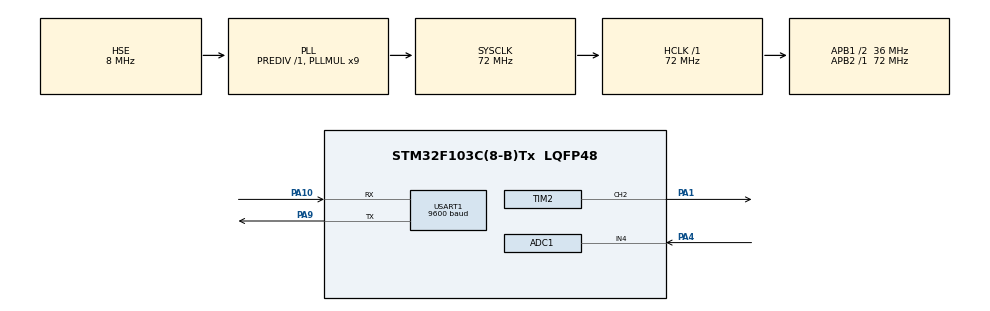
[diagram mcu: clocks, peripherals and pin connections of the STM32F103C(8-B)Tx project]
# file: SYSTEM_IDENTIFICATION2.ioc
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ADC1.Channel-0\#ChannelRegularConversion=ADC_CHANNEL_4
ADC1.ContinuousConvMode=ENABLE
ADC1.InjNumberOfConversion=0
ADC1.NbrOfConversion=1
ADC1.NbrOfConversionFlag=1
ADC1.Rank-0\#ChannelRegularConversion=1
ADC1.SamplingTime-0\#ChannelRegularConversion=ADC_SAMPLETIME_1CYCLE_5
ADC1.master=1
FREERTOS.HEAP_NUMBER=3
FREERTOS.Tasks01=CurrentRead,3,128,StartTaskCurrentRead,Default,NULL,Dynamic,NULL,NULL;DataLogging,3,128,StartTaskDataLogging,Default,NULL,Dynamic,NULL,NULL;SetPWM,3,128,StartTaskSetPWM,Default,NULL,Dynamic,NULL,NULL
Mcu.Family=STM32F1
Mcu.Name=STM32F103C(8-B)Tx
Mcu.Package=LQFP48
NVIC.ADC1_2_IRQn=true\:5\:0\:false\:false\:true\:true\:true
NVIC.PriorityGroup=NVIC_PRIORITYGROUP_4
NVIC.TIM1_UP_IRQn=true\:0\:0\:false\:false\:true\:false\:false
NVIC.TimeBase=TIM1_UP_IRQn
NVIC.TimeBaseIP=TIM1
PA1.Signal=S_TIM2_CH2
PA10.Mode=Asynchronous
PA10.Signal=USART1_RX
PA13.Mode=Serial_Wire
PA13.Signal=SYS_JTMS-SWDIO
PA14.Mode=Serial_Wire
PA14.Signal=SYS_JTCK-SWCLK
PA4.Signal=ADCx_IN4
PA9.Mode=Asynchronous
PA9.Signal=USART1_TX
PD0-OSC_IN.Mode=HSE-External-Oscillator
PD0-OSC_IN.Signal=RCC_OSC_IN
PD1-OSC_OUT.Mode=HSE-External-Oscillator
PD1-OSC_OUT.Signal=RCC_OSC_OUT
ProjectManager.HeapSize=0x200
ProjectManager.StackSize=0x400
ProjectManager.TargetToolchain=SW4STM32
RCC.ADCPresc=RCC_ADCPCLK2_DIV6
RCC.AHBFreq_Value=72000000
RCC.APB1CLKDivider=RCC_HCLK_DIV2
RCC.APB1Freq_Value=36000000
RCC.APB1TimFreq_Value=72000000
RCC.APB2Freq_Value=72000000
RCC.APB2TimFreq_Value=72000000
RCC.HCLKFreq_Value=72000000
RCC.PLLMUL=RCC_PLL_MUL9
RCC.PLLSourceVirtual=RCC_PLLSOURCE_HSE
RCC.SYSCLKFreq_VALUE=72000000
RCC.SYSCLKSource=RCC_SYSCLKSOURCE_PLLCLK
RCC.USBFreq_Value=48000000
RCC.USBPrescaler=RCC_USBCLKSOURCE_PLL_DIV1_5
SH.ADCx_IN4.0=ADC1_IN4,IN4
SH.S_TIM2_CH2.0=TIM2_CH2,PWM Generation2 CH2
TIM2.Channel-PWM\ Generation2\ CH2=TIM_CHANNEL_2
TIM2.Period=99
TIM2.Prescaler=9
USART1.BaudRate=9600
USART1.VirtualMode=VM_ASYNC
VP_FREERTOS_VS_ENABLE.Mode=Enabled
VP_SYS_VS_tim1.Mode=TIM1
VP_TIM2_VS_ClockSourceINT.Mode=Internal
board=custom

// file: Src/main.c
/* USER CODE BEGIN Header */
/**
  ******************************************************************************
  * @file           : main.c
  * @brief          : Main program body
  ******************************************************************************
  * This notice applies to any and all portions of this file
  * that are not between comment pairs USER CODE BEGIN and
  * USER CODE END. Other portions of this file, whether
  * inserted by the user or by software development tools
  * are owned by their respective copyright owners.
  *
  * Copyright (c) 2019 STMicroelectronics International N.V.
  * All rights reserved.
  *
  * Redistribution and use in source and binary forms, with or without
  * modification, are permitted, provided that the following conditions are met:
  *
  * 1. Redistribution of source code must retain the above copyright notice,
  *    this list of conditions and the following disclaimer.
  * 2. Redistributions in binary form must reproduce the above copyright notice,
  *    this list of conditions and the following disclaimer in the documentation
  *    and/or other materials provided with the distribution.
  * 3. Neither the name of STMicroelectronics nor the names of other
  *    contributors to this software may be used to endorse or promote products
  *    derived from this software without specific written permission.
  * 4. This software, including modifications and/or derivative works of this
  *    software, must execute solely and exclusively on microcontroller or
  *    microprocessor devices manufactured by or for STMicroelectronics.
  * 5. Redistribution and use of this software other than as permitted under
  *    this license is void and will automatically terminate your rights under
  *    this license.
  *
  * THIS SOFTWARE IS PROVIDED BY STMICROELECTRONICS AND CONTRIBUTORS "AS IS"
  * AND ANY EXPRESS, IMPLIED OR STATUTORY WARRANTIES, INCLUDING, BUT NOT
  * LIMITED TO, THE IMPLIED WARRANTIES OF MERCHANTABILITY, FITNESS FOR A
  * PARTICULAR PURPOSE AND NON-INFRINGEMENT OF THIRD PARTY INTELLECTUAL PROPERTY
  * RIGHTS ARE DISCLAIMED TO THE FULLEST EXTENT PERMITTED BY LAW. IN NO EVENT
  * SHALL STMICROELECTRONICS OR CONTRIBUTORS BE LIABLE FOR ANY DIRECT, INDIRECT,
  * INCIDENTAL, SPECIAL, EXEMPLARY, OR CONSEQUENTIAL DAMAGES (INCLUDING, BUT NOT
  * LIMITED TO, PROCUREMENT OF SUBSTITUTE GOODS OR SERVICES; LOSS OF USE, DATA,
  * OR PROFITS; OR BUSINESS INTERRUPTION) HOWEVER CAUSED AND ON ANY THEORY OF
  * LIABILITY, WHETHER IN CONTRACT, STRICT LIABILITY, OR TORT (INCLUDING
  * NEGLIGENCE OR OTHERWISE) ARISING IN ANY WAY OUT OF THE USE OF THIS SOFTWARE,
  * EVEN IF ADVISED OF THE POSSIBILITY OF SUCH DAMAGE.
  *
  ******************************************************************************
  */
/* USER CODE END Header */

#include "main.h"
#include "cmsis_os.h"
#include "legio.h"

/* USER CODE BEGIN PD */

#define DATA_LOGGING_SAMPLE_TIME 200
#define CURRENT_READ_SAMPLE_TIME 200
#define SET_PWM_SAMPLE_TIME 5000

/* USER CODE END PD */

ADC_HandleTypeDef hadc1;

TIM_HandleTypeDef htim2;

UART_HandleTypeDef huart1;

osThreadId CurrentReadHandle;
osThreadId DataLoggingHandle;
osThreadId SetPWMHandle;
osMutexId MutexHandle;
/* USER CODE BEGIN PV */

float v_avg;
int dutycycle;
int adc_value; //read value in adc channel
float pwm_frequency;

/* USER CODE END PV */

void SystemClock_Config(void);
static void MX_GPIO_Init(void);
static void MX_USART1_UART_Init(void);
static void MX_TIM2_Init(void);
static void MX_ADC1_Init(void);
void StartTaskCurrentRead(void const * argument);
void StartTaskDataLogging(void const * argument);
void StartTaskSetPWM(void const * argument);

int main(void)
{

  /* MCU Configuration--------------------------------------------------------*/

  /* Reset of all peripherals, Initializes the Flash interface and the Systick. */
  HAL_Init();

  /* Configure the system clock */
  SystemClock_Config();

  /* Initialize all configured peripherals */
  MX_GPIO_Init();
  MX_USART1_UART_Init();
  MX_TIM2_Init();
  MX_ADC1_Init();
  /* USER CODE BEGIN 2 */

  //write_pwm_freq_to_sd(); //change accordingly

  /* USER CODE END 2 */

  /* Create the thread(s) */
  /* definition and creation of CurrentRead */
  osThreadDef(CurrentRead, StartTaskCurrentRead, osPriorityRealtime, 0, 128);
  CurrentReadHandle = osThreadCreate(osThread(CurrentRead), NULL);

  /* definition and creation of DataLogging */
  osThreadDef(DataLogging, StartTaskDataLogging, osPriorityRealtime, 0, 128);
  DataLoggingHandle = osThreadCreate(osThread(DataLogging), NULL);

  /* definition and creation of SetPWM */
  osThreadDef(SetPWM, StartTaskSetPWM, osPriorityRealtime, 0, 128);
  SetPWMHandle = osThreadCreate(osThread(SetPWM), NULL);

  /* Start scheduler */
  osKernelStart();

  /* We should never get here as control is now taken by the scheduler */

  /* Infinite loop */
  /* USER CODE BEGIN WHILE */
  while (1)
  {
  }
}

void SystemClock_Config(void)
{
  RCC_OscInitTypeDef RCC_OscInitStruct = {0};
  RCC_ClkInitTypeDef RCC_ClkInitStruct = {0};
  RCC_PeriphCLKInitTypeDef PeriphClkInit = {0};

  /**Initializes the CPU, AHB and APB busses clocks
  */
  RCC_OscInitStruct.OscillatorType = RCC_OSCILLATORTYPE_HSE;
  RCC_OscInitStruct.HSEState = RCC_HSE_ON;
  RCC_OscInitStruct.HSEPredivValue = RCC_HSE_PREDIV_DIV1;
  RCC_OscInitStruct.HSIState = RCC_HSI_ON;
  RCC_OscInitStruct.PLL.PLLState = RCC_PLL_ON;
  RCC_OscInitStruct.PLL.PLLSource = RCC_PLLSOURCE_HSE;
  RCC_OscInitStruct.PLL.PLLMUL = RCC_PLL_MUL9;
  if (HAL_RCC_OscConfig(&RCC_OscInitStruct) != HAL_OK)
  {
    Error_Handler();
  }
  /**Initializes the CPU, AHB and APB busses clocks
  */
  RCC_ClkInitStruct.ClockType = RCC_CLOCKTYPE_HCLK|RCC_CLOCKTYPE_SYSCLK
                              |RCC_CLOCKTYPE_PCLK1|RCC_CLOCKTYPE_PCLK2;
  RCC_ClkInitStruct.SYSCLKSource = RCC_SYSCLKSOURCE_PLLCLK;
  RCC_ClkInitStruct.AHBCLKDivider = RCC_SYSCLK_DIV1;
  RCC_ClkInitStruct.APB1CLKDivider = RCC_HCLK_DIV2;
  RCC_ClkInitStruct.APB2CLKDivider = RCC_HCLK_DIV1;

  if (HAL_RCC_ClockConfig(&RCC_ClkInitStruct, FLASH_LATENCY_2) != HAL_OK)
  {
    Error_Handler();
  }
  PeriphClkInit.PeriphClockSelection = RCC_PERIPHCLK_ADC;
  PeriphClkInit.AdcClockSelection = RCC_ADCPCLK2_DIV6;
  if (HAL_RCCEx_PeriphCLKConfig(&PeriphClkInit) != HAL_OK)
  {
    Error_Handler();
  }
}

static void MX_ADC1_Init(void)
{

  ADC_ChannelConfTypeDef sConfig = {0};

  /**Common config
  */
  hadc1.Instance = ADC1;
  hadc1.Init.ScanConvMode = ADC_SCAN_DISABLE;
  hadc1.Init.ContinuousConvMode = ENABLE;
  hadc1.Init.DiscontinuousConvMode = DISABLE;
  hadc1.Init.ExternalTrigConv = ADC_SOFTWARE_START;
  hadc1.Init.DataAlign = ADC_DATAALIGN_RIGHT;
  hadc1.Init.NbrOfConversion = 1;
  if (HAL_ADC_Init(&hadc1) != HAL_OK)
  {
    Error_Handler();
  }
  /**Configure Regular Channel
  */
  sConfig.Channel = ADC_CHANNEL_4;
  sConfig.Rank = ADC_REGULAR_RANK_1;
  sConfig.SamplingTime = ADC_SAMPLETIME_1CYCLE_5;
  if (HAL_ADC_ConfigChannel(&hadc1, &sConfig) != HAL_OK)
  {
    Error_Handler();
  }

}

static void MX_TIM2_Init(void)
{

  TIM_ClockConfigTypeDef sClockSourceConfig = {0};
  TIM_MasterConfigTypeDef sMasterConfig = {0};
  TIM_OC_InitTypeDef sConfigOC = {0};

  htim2.Instance = TIM2;
  htim2.Init.Prescaler = 9;
  htim2.Init.CounterMode = TIM_COUNTERMODE_UP;
  htim2.Init.Period = 99;
  htim2.Init.ClockDivision = TIM_CLOCKDIVISION_DIV1;
  htim2.Init.AutoReloadPreload = TIM_AUTORELOAD_PRELOAD_DISABLE;
  if (HAL_TIM_Base_Init(&htim2) != HAL_OK)
  {
    Error_Handler();
  }
  sClockSourceConfig.ClockSource = TIM_CLOCKSOURCE_INTERNAL;
  if (HAL_TIM_ConfigClockSource(&htim2, &sClockSourceConfig) != HAL_OK)
  {
    Error_Handler();
  }
  if (HAL_TIM_PWM_Init(&htim2) != HAL_OK)
  {
    Error_Handler();
  }
  sMasterConfig.MasterOutputTrigger = TIM_TRGO_RESET;
  sMasterConfig.MasterSlaveMode = TIM_MASTERSLAVEMODE_DISABLE;
  if (HAL_TIMEx_MasterConfigSynchronization(&htim2, &sMasterConfig) != HAL_OK)
  {
    Error_Handler();
  }
  sConfigOC.OCMode = TIM_OCMODE_PWM1;
  sConfigOC.Pulse = 0;
  sConfigOC.OCPolarity = TIM_OCPOLARITY_HIGH;
  sConfigOC.OCFastMode = TIM_OCFAST_DISABLE;
  if (HAL_TIM_PWM_ConfigChannel(&htim2, &sConfigOC, TIM_CHANNEL_2) != HAL_OK)
  {
    Error_Handler();
  }
  HAL_TIM_MspPostInit(&htim2);

}

static void MX_USART1_UART_Init(void)
{

  huart1.Instance = USART1;
  huart1.Init.BaudRate = 9600;
  huart1.Init.WordLength = UART_WORDLENGTH_8B;
  huart1.Init.StopBits = UART_STOPBITS_1;
  huart1.Init.Parity = UART_PARITY_NONE;
  huart1.Init.Mode = UART_MODE_TX_RX;
  huart1.Init.HwFlowCtl = UART_HWCONTROL_NONE;
  huart1.Init.OverSampling = UART_OVERSAMPLING_16;
  if (HAL_UART_Init(&huart1) != HAL_OK)
  {
    Error_Handler();
  }

}

static void MX_GPIO_Init(void)
{

  /* GPIO Ports Clock Enable */
  __HAL_RCC_GPIOD_CLK_ENABLE();
  __HAL_RCC_GPIOA_CLK_ENABLE();

}

void StartTaskCurrentRead(void const * argument)
{

  /* USER CODE BEGIN 5 */
  HAL_ADC_Start(&hadc1); //start adc channel
  /* Infinite loop */
  for(;;)
  {
	xSemaphoreTake(MutexHandle, portMAX_DELAY);
	HAL_ADC_PollForConversion(&hadc1, 50); //wait for conversion
	adc_value = HAL_ADC_GetValue(&hadc1);
	xSemaphoreGive(MutexHandle);
    osDelay(CURRENT_READ_SAMPLE_TIME);
  }
  /* USER CODE END 5 */
}

void StartTaskDataLogging(void const * argument)
{
  /* USER CODE BEGIN StartTaskDataLogging */
  /* Infinite loop */
  for(;;)
  {
	write_sampled_data(v_avg, dutycycle, adc_value);
    osDelay(DATA_LOGGING_SAMPLE_TIME);
  }
  /* USER CODE END StartTaskDataLogging */
}

void StartTaskSetPWM(void const * argument)
{
  int i = 0;
  /* USER CODE BEGIN StartTaskSetPWM */
  pwm_init(); //initialize pwm channel

  v_avg = 0;
  /* Infinite loop */
  for(;;)
  {
	if(v_avg!=0){ //sets v_avg = 0 in between steps
		v_avg = 0;
	}
	else{
		if(i==9){
				i=0;
				v_avg = i;
			}
			else{
				v_avg = i;
				i++;
			}
	}
	xSemaphoreTake(MutexHandle, portMAX_DELAY);
	set_avg_voltage(v_avg, &dutycycle);
	xSemaphoreGive(MutexHandle);
  osDelay(SET_PWM_SAMPLE_TIME);

  }
  /* USER CODE END StartTaskSetPWM */
}

void HAL_TIM_PeriodElapsedCallback(TIM_HandleTypeDef *htim)
{
  if (htim->Instance == TIM1) {
    HAL_IncTick();
  }
}

void Error_Handler(void)
{
}

/************************ (C) COPYRIGHT STMicroelectronics *****END OF FILE****/
